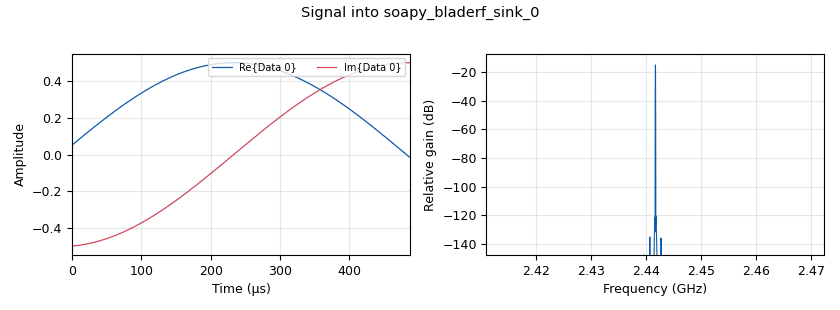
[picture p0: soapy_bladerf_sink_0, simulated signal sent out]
options:
  parameters:
    author: lille-koch
    generate_options: no_gui
    id: Frontend
    output_language: python
    title: Not titled yet
  states: {}

blocks:
- name: RF_gain
  id: variable
  parameters:
    value: '1'
  states: {}
- name: band_pass
  id: variable
  parameters:
    value: 10e6
  states: {}
- name: cent_freq
  id: variable
  parameters:
    value: 2441.75e6
  states: {}
- name: samp_rate
  id: variable
  parameters:
    value: 61.44e6
  states: {}
- name: analog_sig_source_x_0
  id: analog_sig_source_x
  parameters:
    amp: '0.5'
    freq: '1000'
    offset: '0'
    phase: '0'
    samp_rate: samp_rate
    type: complex
    waveform: analog.GR_COS_WAVE
  states: {}
- name: network_tcp_sink_0
  id: network_tcp_sink
  parameters:
    mode: '2'
    port: '5000'
    type: complex
  states: {}
- name: network_tcp_sink_1
  id: network_tcp_sink
  parameters:
    mode: '2'
    port: '5001'
    type: complex
  states: {}
- name: soapy_bladerf_sink_0
  id: soapy_bladerf_sink
  parameters:
    bandwidth: band_pass
    center_freq: cent_freq
    dev_args: bladrf=0
    gain: '1'
    samp_rate: samp_rate
    type: fc32
  states: {}
- name: soapy_bladerf_source_0
  id: soapy_bladerf_source
  parameters:
    bandwidth: band_pass
    center_freq: cent_freq
    dev_args: bladrf=0,channel=1
    gain: RF_gain
    samp_rate: samp_rate
    type: fc32
  states: {}
- name: soapy_bladerf_source_0_0
  id: soapy_bladerf_source
  parameters:
    bandwidth: band_pass
    center_freq: cent_freq
    dev_args: bladrf=0,channel=0
    gain: RF_gain
    samp_rate: samp_rate
    type: fc32
  states: {}

connections:
- [analog_sig_source_x_0, '0', soapy_bladerf_sink_0, '0']
- [soapy_bladerf_source_0, '0', network_tcp_sink_1, '0']
- [soapy_bladerf_source_0_0, '0', network_tcp_sink_0, '0']

metadata:
  file_format: 1
  grc_version: 3.10.12.0
